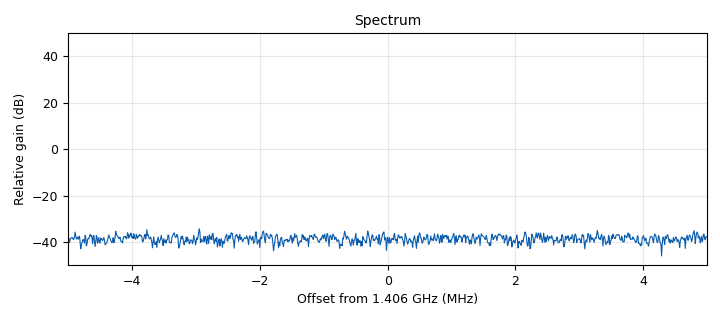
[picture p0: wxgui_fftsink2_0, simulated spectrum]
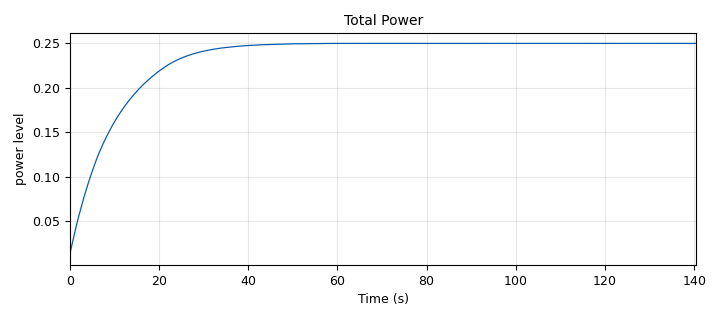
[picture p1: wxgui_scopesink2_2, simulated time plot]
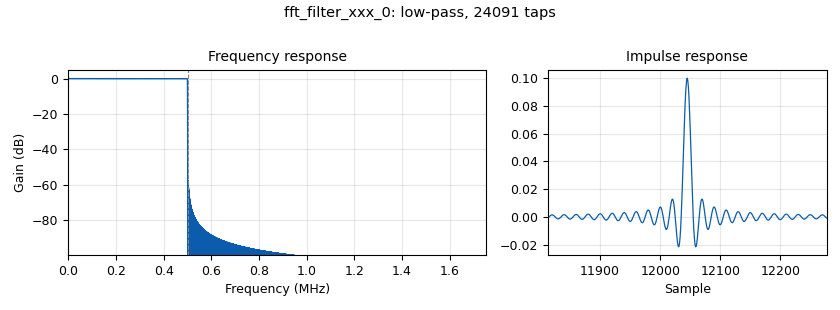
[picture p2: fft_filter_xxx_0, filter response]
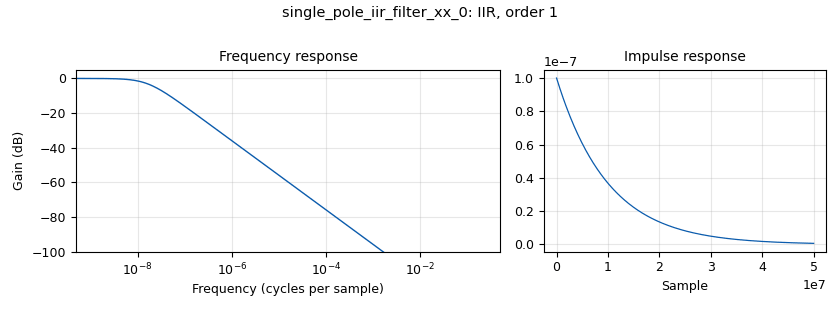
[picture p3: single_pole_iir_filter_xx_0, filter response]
<?xml version='1.0' encoding='utf-8'?>
<?grc format='1' created='3.7.8'?>
<flow_graph>
<block>
<key>options</key>
<param><key>id</key><value>N200_TPR_filter</value></param>
<param><key>author</key><value>Matthew E Nelson</value></param>
<param><key>category</key><value>Custom</value></param>
<param><key>description</key><value>Total power radiometer connecting to a N200 SDR with a bandpass filter</value></param>
<param><key>generate_options</key><value>wx_gui</value></param>
<param><key>title</key><value>Total Power Radiometer - N200 with Filter</value></param>
</block>
<block>
<key>variable_chooser</key>
<param><key>id</key><value>add_filter</value></param>
<param><key>choices</key><value>[0,1]</value></param>
<param><key>value</key><value>0</value></param>
<param><key>grid_pos</key><value>3,3,1,1</value></param>
<param><key>label</key><value>Filter On/Off</value></param>
<param><key>labels</key><value>['Off','On']</value></param>
<param><key>notebook</key><value>Main,0</value></param>
<param><key>style</key><value>wx.RA_HORIZONTAL</value></param>
<param><key>type</key><value>button</value></param>
</block>
<block>
<key>variable_text_box</key>
<param><key>id</key><value>calib_1</value></param>
<param><key>converver</key><value>float_converter</value></param>
<param><key>value</key><value>4.0755e3</value></param>
<param><key>formatter</key><value>None</value></param>
<param><key>grid_pos</key><value>3,0,1,1</value></param>
<param><key>label</key><value>Calibration value 1</value></param>
<param><key>notebook</key><value>Main,0</value></param>
</block>
<block>
<key>variable_text_box</key>
<param><key>id</key><value>calib_2</value></param>
<param><key>converver</key><value>float_converter</value></param>
<param><key>value</key><value>-342.774</value></param>
<param><key>formatter</key><value>None</value></param>
<param><key>grid_pos</key><value>3,1,1,1</value></param>
<param><key>label</key><value>Calibration value 2</value></param>
<param><key>notebook</key><value>Main,0</value></param>
</block>
<block>
<key>variable_chooser</key>
<param><key>id</key><value>dc_gain</value></param>
<param><key>choices</key><value>[1, 10, 100, 1000, 10000]</value></param>
<param><key>value</key><value>int(dcg)</value></param>
<param><key>grid_pos</key><value>1,0,1,1</value></param>
<param><key>label</key><value>DC Gain</value></param>
<param><key>labels</key><value>[]</value></param>
<param><key>notebook</key><value>Main,0</value></param>
<param><key>style</key><value>wx.RA_HORIZONTAL</value></param>
<param><key>type</key><value>radio_buttons</value></param>
</block>
<block>
<key>variable</key>
<param><key>id</key><value>det_rate</value></param>
<param><key>value</key><value>int(20.0)</value></param>
</block>
<block>
<key>variable</key>
<param><key>id</key><value>fftrate</value></param>
<param><key>value</key><value>int(samp_rate/fftsize)</value></param>
</block>
<block>
<key>variable</key>
<param><key>id</key><value>file_rate</value></param>
<param><key>value</key><value>2.0</value></param>
</block>
<block>
<key>variable_slider</key>
<param><key>id</key><value>filter_band</value></param>
<param><key>converver</key><value>float_converter</value></param>
<param><key>value</key><value>500e3</value></param>
<param><key>grid_pos</key><value>3,2,1,1</value></param>
<param><key>label</key><value>Filter Bandwidth</value></param>
<param><key>max</key><value>9e6</value></param>
<param><key>min</key><value>100e3</value></param>
<param><key>notebook</key><value>Main, 0</value></param>
<param><key>num_steps</key><value>100</value></param>
<param><key>style</key><value>wx.SL_HORIZONTAL</value></param>
</block>
<block>
<key>variable_text_box</key>
<param><key>id</key><value>freq</value></param>
<param><key>converver</key><value>float_converter</value></param>
<param><key>value</key><value>frequency</value></param>
<param><key>formatter</key><value>None</value></param>
<param><key>grid_pos</key><value>0,0,1,1</value></param>
<param><key>label</key><value>Center Frequency (Hz)</value></param>
<param><key>notebook</key><value>Main,0</value></param>
</block>
<block>
<key>variable_slider</key>
<param><key>id</key><value>gain</value></param>
<param><key>converver</key><value>float_converter</value></param>
<param><key>value</key><value>26</value></param>
<param><key>grid_pos</key><value>0,1,1,1</value></param>
<param><key>label</key><value>RF Gain (dB)</value></param>
<param><key>max</key><value>maxg</value></param>
<param><key>min</key><value>0</value></param>
<param><key>notebook</key><value>Main,0</value></param>
<param><key>num_steps</key><value>100</value></param>
<param><key>style</key><value>wx.SL_HORIZONTAL</value></param>
</block>
<block>
<key>variable_text_box</key>
<param><key>id</key><value>idecln</value></param>
<param><key>converver</key><value>float_converter</value></param>
<param><key>value</key><value>decln</value></param>
<param><key>formatter</key><value>None</value></param>
<param><key>grid_pos</key><value>1,2,1,1</value></param>
<param><key>label</key><value>Declination</value></param>
<param><key>notebook</key><value>Main,0</value></param>
</block>
<block>
<key>variable_slider</key>
<param><key>id</key><value>integ</value></param>
<param><key>converver</key><value>float_converter</value></param>
<param><key>value</key><value>tpint</value></param>
<param><key>grid_pos</key><value>0,2,1,1</value></param>
<param><key>label</key><value>Integration Time (Seconds)</value></param>
<param><key>max</key><value>60</value></param>
<param><key>min</key><value>1</value></param>
<param><key>notebook</key><value>Main,0</value></param>
<param><key>num_steps</key><value>100</value></param>
<param><key>style</key><value>wx.SL_HORIZONTAL</value></param>
</block>
<block>
<key>variable_chooser</key>
<param><key>id</key><value>israte</value></param>
<param><key>choices</key><value>[1e6,2e6,5e6,10e6,25e6]</value></param>
<param><key>value</key><value>srate</value></param>
<param><key>grid_pos</key><value>1,3,1,1</value></param>
<param><key>label</key><value>Sample Rate (BW)</value></param>
<param><key>labels</key><value>['1 MHz','2 MHz','5 MHz','10 MHz','25 MHz']</value></param>
<param><key>notebook</key><value>Main,0</value></param>
<param><key>style</key><value>wx.RA_HORIZONTAL</value></param>
<param><key>type</key><value>radio_buttons</value></param>
</block>
<block>
<key>variable</key>
<param><key>id</key><value>prefix</value></param>
<param><key>value</key><value>"tpr_"</value></param>
</block>
<block>
<key>variable_chooser</key>
<param><key>id</key><value>rec_button_iq</value></param>
<param><key>choices</key><value>[0,1]</value></param>
<param><key>value</key><value>1</value></param>
<param><key>grid_pos</key><value>4,0,1,1</value></param>
<param><key>label</key><value>Record I/Q Data</value></param>
<param><key>labels</key><value>['Stop','Start']</value></param>
<param><key>notebook</key><value>Main,0</value></param>
<param><key>style</key><value>wx.RA_HORIZONTAL</value></param>
<param><key>type</key><value>button</value></param>
</block>
<block>
<key>variable_chooser</key>
<param><key>id</key><value>rec_button_tpr</value></param>
<param><key>choices</key><value>[0,1]</value></param>
<param><key>value</key><value>1</value></param>
<param><key>grid_pos</key><value>4,1,1,1</value></param>
<param><key>label</key><value>Record TPR Data</value></param>
<param><key>labels</key><value>['Stop','Start']</value></param>
<param><key>notebook</key><value>Main,0</value></param>
<param><key>style</key><value>wx.RA_HORIZONTAL</value></param>
<param><key>type</key><value>button</value></param>
</block>
<block>
<key>variable</key>
<param><key>id</key><value>recfile_kelvin</value></param>
<param><key>value</key><value>prefix+"kelvin" + datetime.now().strftime("%Y.%m.%d.%H.%M.%S") + ".dat"</value></param>
</block>
<block>
<key>variable</key>
<param><key>id</key><value>recfile_tpr</value></param>
<param><key>value</key><value>prefix + datetime.now().strftime("%Y.%m.%d.%H.%M.%S") + ".dat"</value></param>
</block>
<block>
<key>variable</key>
<param><key>id</key><value>samp_rate</value></param>
<param><key>value</key><value>int(israte)</value></param>
</block>
<block>
<key>variable</key>
<param><key>id</key><value>scope_rate</value></param>
<param><key>value</key><value>2</value></param>
</block>
<block>
<key>variable_slider</key>
<param><key>id</key><value>spavg</value></param>
<param><key>converver</key><value>int_converter</value></param>
<param><key>value</key><value>int(spa)</value></param>
<param><key>grid_pos</key><value>1,1,1,1</value></param>
<param><key>label</key><value>Spectral Averaging (Seconds)</value></param>
<param><key>max</key><value>20</value></param>
<param><key>min</key><value>1</value></param>
<param><key>notebook</key><value>Main,0</value></param>
<param><key>num_steps</key><value>20</value></param>
<param><key>style</key><value>wx.SL_HORIZONTAL</value></param>
</block>
<block>
<key>variable</key>
<param><key>id</key><value>spec_data_fifo</value></param>
<param><key>value</key><value>"spectrum_" + datetime.now().strftime("%Y.%m.%d.%H.%M.%S") + ".dat"</value></param>
</block>
<block>
<key>variable</key>
<param><key>id</key><value>taps</value></param>
<param><key>value</key><value>firdes.low_pass(1.0, samp_rate,filter_band, 1000)</value></param>
</block>
<block>
<key>variable_static_text</key>
<param><key>id</key><value>variable_static_text_0</value></param>
<param><key>converver</key><value>float_converter</value></param>
<param><key>value</key><value>israte</value></param>
<param><key>formatter</key><value>None</value></param>
<param><key>grid_pos</key><value>2,0,1,1</value></param>
<param><key>label</key><value>Samp rate</value></param>
<param><key>notebook</key><value>Main,0</value></param>
</block>
<block>
<key>variable_static_text</key>
<param><key>id</key><value>variable_static_text_0_0</value></param>
<param><key>converver</key><value>str_converter</value></param>
<param><key>value</key><value>subdev</value></param>
<param><key>formatter</key><value>None</value></param>
<param><key>grid_pos</key><value>2,1,1,1</value></param>
<param><key>label</key><value>SubDev</value></param>
<param><key>notebook</key><value>Main,0</value></param>
</block>
<block>
<key>variable_static_text</key>
<param><key>id</key><value>variable_static_text_0_0_0</value></param>
<param><key>converver</key><value>str_converter</value></param>
<param><key>value</key><value>devid</value></param>
<param><key>formatter</key><value>None</value></param>
<param><key>grid_pos</key><value>2,2,1,1</value></param>
<param><key>label</key><value>Device</value></param>
<param><key>notebook</key><value>Main,0</value></param>
</block>
<block>
<key>variable_static_text</key>
<param><key>id</key><value>variable_static_text_0_0_0_0</value></param>
<param><key>converver</key><value>float_converter</value></param>
<param><key>value</key><value>clock</value></param>
<param><key>formatter</key><value>None</value></param>
<param><key>grid_pos</key><value>2,3,1,1</value></param>
<param><key>label</key><value>N200 Clock</value></param>
<param><key>notebook</key><value>Main,0</value></param>
</block>
<block>
<key>notebook</key>
<param><key>id</key><value>Main</value></param>
<param><key>labels</key><value>['N200 Control Panel','TPR Measurements']</value></param>
<param><key>style</key><value>wx.NB_TOP</value></param>
</block>
<block>
<key>analog_noise_source_x</key>
<param><key>id</key><value>analog_noise_source_x_0</value></param>
<param><key>amp</key><value>.5</value></param>
<param><key>noise_type</key><value>analog.GR_GAUSSIAN</value></param>
<param><key>type</key><value>complex</value></param>
<param><key>seed</key><value>0</value></param>
</block>
<block>
<key>blks2_selector</key>
<param><key>id</key><value>blks2_selector_0</value></param>
<param><key>input_index</key><value>add_filter</value></param>
<param><key>num_inputs</key><value>2</value></param>
<param><key>num_outputs</key><value>1</value></param>
<param><key>output_index</key><value>0</value></param>
<param><key>type</key><value>complex</value></param>
<param><key>vlen</key><value>1</value></param>
</block>
<block>
<key>blks2_valve</key>
<param><key>id</key><value>blks2_valve_0</value></param>
<param><key>open</key><value>rec_button_tpr</value></param>
<param><key>type</key><value>float</value></param>
<param><key>vlen</key><value>1</value></param>
</block>
<block>
<key>blks2_valve</key>
<param><key>id</key><value>blks2_valve_1</value></param>
<param><key>open</key><value>0</value></param>
<param><key>type</key><value>float</value></param>
<param><key>vlen</key><value>1</value></param>
</block>
<block>
<key>blks2_valve</key>
<param><key>id</key><value>blks2_valve_2</value></param>
<param><key>open</key><value>rec_button_iq</value></param>
<param><key>type</key><value>complex</value></param>
<param><key>vlen</key><value>1</value></param>
</block>
<block>
<key>blocks_add_const_vxx</key>
<param><key>id</key><value>blocks_add_const_vxx_1</value></param>
<param><key>const</key><value>calib_2</value></param>
<param><key>type</key><value>float</value></param>
</block>
<block>
<key>blocks_complex_to_mag_squared</key>
<param><key>id</key><value>blocks_complex_to_mag_squared_1</value></param>
</block>
<block>
<key>blocks_file_sink</key>
<param><key>id</key><value>blocks_file_sink_0</value></param>
<param><key>file</key><value>recfile_kelvin</value></param>
<param><key>type</key><value>float</value></param>
<param><key>unbuffered</key><value>True</value></param>
</block>
<block>
<key>blocks_file_sink</key>
<param><key>id</key><value>blocks_file_sink_1</value></param>
<param><key>file</key><value>prefix+"iq_raw" + datetime.now().strftime("%Y.%m.%d.%H.%M.%S") + ".dat"</value></param>
<param><key>type</key><value>complex</value></param>
</block>
<block>
<key>blocks_file_sink</key>
<param><key>id</key><value>blocks_file_sink_4</value></param>
<param><key>file</key><value>recfile_tpr</value></param>
<param><key>type</key><value>float</value></param>
<param><key>unbuffered</key><value>True</value></param>
</block>
<block>
<key>blocks_file_sink</key>
<param><key>id</key><value>blocks_file_sink_5</value></param>
<param><key>file</key><value>spec_data_fifo</value></param>
<param><key>type</key><value>float</value></param>
<param><key>unbuffered</key><value>True</value></param>
<param><key>vlen</key><value>fftsize</value></param>
</block>
<block>
<key>blocks_keep_one_in_n</key>
<param><key>id</key><value>blocks_keep_one_in_n_1</value></param>
<param><key>n</key><value>int(det_rate/file_rate)</value></param>
<param><key>type</key><value>float</value></param>
</block>
<block>
<key>blocks_keep_one_in_n</key>
<param><key>id</key><value>blocks_keep_one_in_n_3</value></param>
<param><key>n</key><value>fftrate</value></param>
<param><key>type</key><value>float</value></param>
<param><key>vlen</key><value>fftsize</value></param>
</block>
<block>
<key>blocks_keep_one_in_n</key>
<param><key>id</key><value>blocks_keep_one_in_n_4</value></param>
<param><key>n</key><value>samp_rate/det_rate</value></param>
<param><key>type</key><value>float</value></param>
</block>
<block>
<key>blocks_multiply_const_vxx</key>
<param><key>id</key><value>blocks_multiply_const_vxx_0</value></param>
<param><key>const</key><value>dc_gain</value></param>
<param><key>type</key><value>float</value></param>
</block>
<block>
<key>blocks_multiply_const_vxx</key>
<param><key>id</key><value>blocks_multiply_const_vxx_1</value></param>
<param><key>const</key><value>calib_1</value></param>
<param><key>type</key><value>float</value></param>
</block>
<block>
<key>parameter</key>
<param><key>id</key><value>clock</value></param>
<param><key>label</key><value>Clock rate</value></param>
<param><key>type</key><value>eng_float</value></param>
<param><key>value</key><value>100.0e6</value></param>
</block>
<block>
<key>parameter</key>
<param><key>id</key><value>dcg</value></param>
<param><key>label</key><value>DC (post-detector) gain</value></param>
<param><key>type</key><value>eng_float</value></param>
<param><key>value</key><value>1</value></param>
</block>
<block>
<key>parameter</key>
<param><key>id</key><value>decln</value></param>
<param><key>label</key><value>Declination</value></param>
<param><key>type</key><value>eng_float</value></param>
<param><key>value</key><value>-28.0</value></param>
</block>
<block>
<key>parameter</key>
<param><key>id</key><value>devid</value></param>
<param><key>label</key><value>USRP Device ID</value></param>
<param><key>type</key><value>string</value></param>
<param><key>value</key><value>addr=192.168.10.2</value></param>
</block>
<block>
<key>fft_filter_xxx</key>
<param><key>id</key><value>fft_filter_xxx_0</value></param>
<param><key>decim</key><value>1</value></param>
<param><key>taps</key><value>taps</value></param>
<param><key>type</key><value>ccc</value></param>
</block>
<block>
<key>parameter</key>
<param><key>id</key><value>fftsize</value></param>
<param><key>type</key><value>intx</value></param>
<param><key>value</key><value>8192</value></param>
</block>
<block>
<key>parameter</key>
<param><key>id</key><value>frequency</value></param>
<param><key>label</key><value>Center Frequency</value></param>
<param><key>type</key><value>eng_float</value></param>
<param><key>value</key><value>1.406e9</value></param>
</block>
<block>
<key>import</key>
<param><key>id</key><value>import_0</value></param>
<param><key>import</key><value>from datetime import datetime</value></param>
</block>
<block>
<key>import</key>
<param><key>id</key><value>import_0_0</value></param>
<param><key>import</key><value>from gnuradio.filter import firdes</value></param>
</block>
<block>
<key>import</key>
<param><key>id</key><value>import_1</value></param>
<param><key>import</key><value>from gnuradio.filter import firdes</value></param>
</block>
<block>
<key>logpwrfft_x</key>
<param><key>id</key><value>logpwrfft_x_0</value></param>
<param><key>avg_alpha</key><value>1.0/float(spavg*fftrate)</value></param>
<param><key>average</key><value>True</value></param>
<param><key>fft_size</key><value>fftsize</value></param>
<param><key>frame_rate</key><value>fftrate</value></param>
<param><key>type</key><value>complex</value></param>
<param><key>ref_scale</key><value>2</value></param>
<param><key>sample_rate</key><value>samp_rate</value></param>
</block>
<block>
<key>parameter</key>
<param><key>id</key><value>maxg</value></param>
<param><key>type</key><value>intx</value></param>
<param><key>value</key><value>50</value></param>
</block>
<block>
<key>note</key>
<param><key>id</key><value>note_0</value></param>
<param><key>note</key><value>I**2+Q**2</value></param>
</block>
<block>
<key>note</key>
<param><key>id</key><value>note_0_0</value></param>
<param><key>note</key><value>AVG</value></param>
</block>
<block>
<key>note</key>
<param><key>id</key><value>note_0_0_0</value></param>
<param><key>note</key><value>DECIMATE</value></param>
</block>
<block>
<key>note</key>
<param><key>id</key><value>note_0_1</value></param>
<param><key>note</key><value>Source Signal</value></param>
</block>
<block>
<key>note</key>
<param><key>id</key><value>note_1</value></param>
<param><key>note</key><value>Import block for importing 3.7 filters</value></param>
</block>
<block>
<key>parameter</key>
<param><key>id</key><value>rfgain</value></param>
<param><key>label</key><value>Gain of RF Front-End</value></param>
<param><key>type</key><value>eng_float</value></param>
<param><key>value</key><value>0.0</value></param>
</block>
<block>
<key>parameter</key>
<param><key>id</key><value>rxant</value></param>
<param><key>label</key><value>RX Antenna selection</value></param>
<param><key>type</key><value>string</value></param>
<param><key>value</key><value></value></param>
</block>
<block>
<key>single_pole_iir_filter_xx</key>
<param><key>id</key><value>single_pole_iir_filter_xx_0</value></param>
<param><key>alpha</key><value>1.0/((samp_rate*integ)/2.0)</value></param>
<param><key>type</key><value>float</value></param>
</block>
<block>
<key>parameter</key>
<param><key>id</key><value>spa</value></param>
<param><key>label</key><value>Spectral Averaging Constant</value></param>
<param><key>type</key><value>eng_float</value></param>
<param><key>value</key><value>1</value></param>
</block>
<block>
<key>parameter</key>
<param><key>id</key><value>srate</value></param>
<param><key>label</key><value>Sample Rate</value></param>
<param><key>type</key><value>eng_float</value></param>
<param><key>value</key><value>10.0e6</value></param>
</block>
<block>
<key>parameter</key>
<param><key>id</key><value>subdev</value></param>
<param><key>label</key><value>USRP Subdevice ID</value></param>
<param><key>type</key><value>string</value></param>
<param><key>value</key><value>A:0</value></param>
</block>
<block>
<key>parameter</key>
<param><key>id</key><value>tpint</value></param>
<param><key>label</key><value>Integration Time</value></param>
<param><key>type</key><value>eng_float</value></param>
<param><key>value</key><value>2.0</value></param>
</block>
<block>
<key>uhd_usrp_source</key>
<param><key>id</key><value>uhd_usrp_source_0</value></param>
<param><key>ant0</key><value></value></param>
<param><key>center_freq0</key><value>freq</value></param>
<param><key>norm_gain0</key><value>False</value></param>
<param><key>gain0</key><value>gain</value></param>
<param><key>clock_rate</key><value>0.0</value></param>
<param><key>dev_addr</key><value>devid</value></param>
<param><key>dev_args</key><value>""</value></param>
<param><key>_enabled</key><value>False</value></param>
<param><key>type</key><value>fc32</value></param>
<param><key>samp_rate</key><value>samp_rate</value></param>
<param><key>sync</key><value></value></param>
</block>
<block>
<key>wxgui_fftsink2</key>
<param><key>id</key><value>wxgui_fftsink2_0</value></param>
<param><key>avg_alpha</key><value>0.1</value></param>
<param><key>average</key><value>True</value></param>
<param><key>baseband_freq</key><value>freq</value></param>
<param><key>fft_size</key><value>1024</value></param>
<param><key>freqvar</key><value>None</value></param>
<param><key>notebook</key><value>Main,0</value></param>
<param><key>peak_hold</key><value>False</value></param>
<param><key>ref_level</key><value>50</value></param>
<param><key>ref_scale</key><value>2.0</value></param>
<param><key>fft_rate</key><value>5</value></param>
<param><key>samp_rate</key><value>israte</value></param>
<param><key>title</key><value>Spectrum</value></param>
<param><key>type</key><value>complex</value></param>
<param><key>win_size</key><value>800,400</value></param>
<param><key>win</key><value>None</value></param>
<param><key>y_divs</key><value>10</value></param>
<param><key>y_per_div</key><value>10</value></param>
</block>
<block>
<key>wxgui_numbersink2</key>
<param><key>id</key><value>wxgui_numbersink2_0</value></param>
<param><key>avg_alpha</key><value>0</value></param>
<param><key>average</key><value>False</value></param>
<param><key>decimal_places</key><value>6</value></param>
<param><key>factor</key><value>1</value></param>
<param><key>max_value</key><value>400</value></param>
<param><key>min_value</key><value>0</value></param>
<param><key>notebook</key><value>Main,1</value></param>
<param><key>number_rate</key><value>15</value></param>
<param><key>peak_hold</key><value>False</value></param>
<param><key>ref_level</key><value>0</value></param>
<param><key>samp_rate</key><value>scope_rate</value></param>
<param><key>show_gauge</key><value>True</value></param>
<param><key>title</key><value>Calibrated Temperature</value></param>
<param><key>type</key><value>float</value></param>
<param><key>units</key><value>Kelvin</value></param>
</block>
<block>
<key>wxgui_numbersink2</key>
<param><key>id</key><value>wxgui_numbersink2_0_0</value></param>
<param><key>avg_alpha</key><value>0</value></param>
<param><key>average</key><value>False</value></param>
<param><key>decimal_places</key><value>6</value></param>
<param><key>factor</key><value>1</value></param>
<param><key>max_value</key><value>.2</value></param>
<param><key>min_value</key><value>0</value></param>
<param><key>notebook</key><value>Main,1</value></param>
<param><key>number_rate</key><value>15</value></param>
<param><key>peak_hold</key><value>False</value></param>
<param><key>ref_level</key><value>0</value></param>
<param><key>samp_rate</key><value>scope_rate</value></param>
<param><key>show_gauge</key><value>True</value></param>
<param><key>title</key><value>Raw Power level</value></param>
<param><key>type</key><value>float</value></param>
<param><key>units</key><value></value></param>
</block>
<block>
<key>wxgui_scopesink2</key>
<param><key>id</key><value>wxgui_scopesink2_2</value></param>
<param><key>ac_couple</key><value>False</value></param>
<param><key>notebook</key><value>Main,1</value></param>
<param><key>num_inputs</key><value>1</value></param>
<param><key>samp_rate</key><value>2</value></param>
<param><key>t_scale</key><value>0</value></param>
<param><key>title</key><value>Total Power</value></param>
<param><key>trig_mode</key><value>wxgui.TRIG_MODE_STRIPCHART</value></param>
<param><key>type</key><value>float</value></param>
<param><key>v_offset</key><value>0</value></param>
<param><key>v_scale</key><value>0</value></param>
<param><key>xy_mode</key><value>False</value></param>
<param><key>y_axis_label</key><value>power level</value></param>
</block>
<connection><source_block_id>analog_noise_source_x_0</source_block_id><sink_block_id>blks2_selector_0</sink_block_id><source_key>0</source_key><sink_key>0</sink_key></connection>
<connection><source_block_id>analog_noise_source_x_0</source_block_id><sink_block_id>fft_filter_xxx_0</sink_block_id><source_key>0</source_key><sink_key>0</sink_key></connection>
<connection><source_block_id>blks2_selector_0</source_block_id><sink_block_id>blks2_valve_2</sink_block_id><source_key>0</source_key><sink_key>0</sink_key></connection>
<connection><source_block_id>blks2_selector_0</source_block_id><sink_block_id>blocks_complex_to_mag_squared_1</sink_block_id><source_key>0</source_key><sink_key>0</sink_key></connection>
<connection><source_block_id>blks2_selector_0</source_block_id><sink_block_id>logpwrfft_x_0</sink_block_id><source_key>0</source_key><sink_key>0</sink_key></connection>
<connection><source_block_id>blks2_selector_0</source_block_id><sink_block_id>wxgui_fftsink2_0</sink_block_id><source_key>0</source_key><sink_key>0</sink_key></connection>
<connection><source_block_id>blks2_valve_0</source_block_id><sink_block_id>blocks_file_sink_4</sink_block_id><source_key>0</source_key><sink_key>0</sink_key></connection>
<connection><source_block_id>blks2_valve_1</source_block_id><sink_block_id>blocks_file_sink_0</sink_block_id><source_key>0</source_key><sink_key>0</sink_key></connection>
<connection><source_block_id>blks2_valve_2</source_block_id><sink_block_id>blocks_file_sink_1</sink_block_id><source_key>0</source_key><sink_key>0</sink_key></connection>
<connection><source_block_id>blocks_add_const_vxx_1</source_block_id><sink_block_id>blks2_valve_1</sink_block_id><source_key>0</source_key><sink_key>0</sink_key></connection>
<connection><source_block_id>blocks_add_const_vxx_1</source_block_id><sink_block_id>wxgui_numbersink2_0</sink_block_id><source_key>0</source_key><sink_key>0</sink_key></connection>
<connection><source_block_id>blocks_complex_to_mag_squared_1</source_block_id><sink_block_id>single_pole_iir_filter_xx_0</sink_block_id><source_key>0</source_key><sink_key>0</sink_key></connection>
<connection><source_block_id>blocks_keep_one_in_n_1</source_block_id><sink_block_id>blks2_valve_0</sink_block_id><source_key>0</source_key><sink_key>0</sink_key></connection>
<connection><source_block_id>blocks_keep_one_in_n_1</source_block_id><sink_block_id>blocks_multiply_const_vxx_1</sink_block_id><source_key>0</source_key><sink_key>0</sink_key></connection>
<connection><source_block_id>blocks_keep_one_in_n_3</source_block_id><sink_block_id>blocks_file_sink_5</sink_block_id><source_key>0</source_key><sink_key>0</sink_key></connection>
<connection><source_block_id>blocks_keep_one_in_n_4</source_block_id><sink_block_id>blocks_multiply_const_vxx_0</sink_block_id><source_key>0</source_key><sink_key>0</sink_key></connection>
<connection><source_block_id>blocks_multiply_const_vxx_0</source_block_id><sink_block_id>blocks_keep_one_in_n_1</sink_block_id><source_key>0</source_key><sink_key>0</sink_key></connection>
<connection><source_block_id>blocks_multiply_const_vxx_0</source_block_id><sink_block_id>wxgui_numbersink2_0_0</sink_block_id><source_key>0</source_key><sink_key>0</sink_key></connection>
<connection><source_block_id>blocks_multiply_const_vxx_0</source_block_id><sink_block_id>wxgui_scopesink2_2</sink_block_id><source_key>0</source_key><sink_key>0</sink_key></connection>
<connection><source_block_id>blocks_multiply_const_vxx_1</source_block_id><sink_block_id>blocks_add_const_vxx_1</sink_block_id><source_key>0</source_key><sink_key>0</sink_key></connection>
<connection><source_block_id>fft_filter_xxx_0</source_block_id><sink_block_id>blks2_selector_0</sink_block_id><source_key>0</source_key><sink_key>1</sink_key></connection>
<connection><source_block_id>logpwrfft_x_0</source_block_id><sink_block_id>blocks_keep_one_in_n_3</sink_block_id><source_key>0</source_key><sink_key>0</sink_key></connection>
<connection><source_block_id>single_pole_iir_filter_xx_0</source_block_id><sink_block_id>blocks_keep_one_in_n_4</sink_block_id><source_key>0</source_key><sink_key>0</sink_key></connection>
<connection><source_block_id>uhd_usrp_source_0</source_block_id><sink_block_id>blks2_selector_0</sink_block_id><source_key>0</source_key><sink_key>0</sink_key></connection>
<connection><source_block_id>uhd_usrp_source_0</source_block_id><sink_block_id>fft_filter_xxx_0</sink_block_id><source_key>0</source_key><sink_key>0</sink_key></connection>
</flow_graph>
